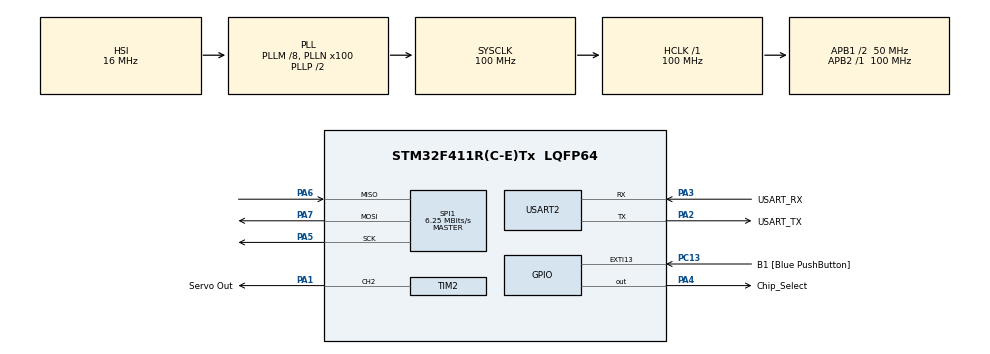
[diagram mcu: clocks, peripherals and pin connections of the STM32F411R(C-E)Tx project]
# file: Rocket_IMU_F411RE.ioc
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Mcu.Family=STM32F4
Mcu.Name=STM32F411R(C-E)Tx
Mcu.Package=LQFP64
NVIC.PriorityGroup=NVIC_PRIORITYGROUP_0
NVIC.TIM2_IRQn=true\:0\:0\:false\:false\:true\:true\:true\:true
NVIC.TIM3_IRQn=true\:0\:0\:false\:false\:true\:true\:true\:true
PA1.GPIO_Label=Servo Out
PA1.Signal=S_TIM2_CH2
PA13.GPIO_Label=TMS
PA13.Mode=Serial_Wire
PA13.Signal=SYS_JTMS-SWDIO
PA14.GPIO_Label=TCK
PA14.Mode=Serial_Wire
PA14.Signal=SYS_JTCK-SWCLK
PA2.GPIO_Label=USART_TX
PA2.Mode=Asynchronous
PA2.Signal=USART2_TX
PA3.GPIO_Label=USART_RX
PA3.Mode=Asynchronous
PA3.Signal=USART2_RX
PA4.GPIO_Label=Chip_Select
PA4.GPIO_Speed=GPIO_SPEED_FREQ_VERY_HIGH
PA4.PinState=GPIO_PIN_SET
PA4.Signal=GPIO_Output
PA5.Mode=Full_Duplex_Master
PA5.Signal=SPI1_SCK
PA6.Mode=Full_Duplex_Master
PA6.Signal=SPI1_MISO
PA7.Mode=Full_Duplex_Master
PA7.Signal=SPI1_MOSI
PB3.GPIO_Label=SWO
PB3.Signal=SYS_JTDO-SWO
PC13-ANTI_TAMP.GPIO_Label=B1 [Blue PushButton]
PC13-ANTI_TAMP.GPIO_ModeDefaultEXTI=GPIO_MODE_IT_FALLING
PC13-ANTI_TAMP.Signal=GPXTI13
PC14-OSC32_IN.Mode=LSE-External-Oscillator
PC14-OSC32_IN.Signal=RCC_OSC32_IN
PC15-OSC32_OUT.Mode=LSE-External-Oscillator
PC15-OSC32_OUT.Signal=RCC_OSC32_OUT
PH0\ -\ OSC_IN.Mode=HSE-External-Clock-Source
PH0\ -\ OSC_IN.Signal=RCC_OSC_IN
PH1\ -\ OSC_OUT.Mode=HSE-External-Clock-Source
PH1\ -\ OSC_OUT.Signal=RCC_OSC_OUT
ProjectManager.HeapSize=0x200
ProjectManager.StackSize=0x400
ProjectManager.TargetToolchain=CMake
RCC.48MHZClocksFreq_Value=50000000
RCC.AHBFreq_Value=100000000
RCC.APB1CLKDivider=RCC_HCLK_DIV2
RCC.APB1Freq_Value=50000000
RCC.APB1TimFreq_Value=100000000
RCC.APB2Freq_Value=100000000
RCC.APB2TimFreq_Value=100000000
RCC.CortexFreq_Value=100000000
RCC.FLatency-AdvancedSettings=FLASH_LATENCY_3
RCC.HCLKFreq_Value=100000000
RCC.HSE_VALUE=8000000
RCC.HSI_VALUE=16000000
RCC.PLLM=8
RCC.PLLN=100
RCC.SYSCLKFreq_VALUE=100000000
RCC.SYSCLKSource=RCC_SYSCLKSOURCE_PLLCLK
RCC.VCOOutputFreq_Value=200000000
SH.S_TIM2_CH2.0=TIM2_CH2,PWM Generation2 CH2
SPI1.BaudRatePrescaler=SPI_BAUDRATEPRESCALER_16
SPI1.CLKPhase=SPI_PHASE_2EDGE
SPI1.CLKPolarity=SPI_POLARITY_HIGH
SPI1.CalculateBaudRate=6.25 MBits/s
SPI1.DataSize=SPI_DATASIZE_8BIT
SPI1.Direction=SPI_DIRECTION_2LINES
SPI1.FirstBit=SPI_FIRSTBIT_MSB
SPI1.Mode=SPI_MODE_MASTER
SPI1.VirtualType=VM_MASTER
TIM2.AutoReloadPreload=TIM_AUTORELOAD_PRELOAD_DISABLE
TIM2.Channel-PWM\ Generation2\ CH2=TIM_CHANNEL_2
TIM2.Period=100000-1
TIM2.Prescaler=20-1
TIM3.Period=79
TIM3.Prescaler=2499
USART2.VirtualMode=VM_ASYNC
VP_TIM2_VS_ClockSourceINT.Mode=Internal
VP_TIM3_VS_ClockSourceINT.Mode=Internal
board=NUCLEO-F411RE

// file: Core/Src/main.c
/* USER CODE BEGIN Header */
/**
  ******************************************************************************
  * @file           : main.c
  * @brief          : Main program body
  ******************************************************************************
  * @attention
  *
  * Copyright (c) 2025 STMicroelectronics.
  * All rights reserved.
  *
  * This software is licensed under terms that can be found in the LICENSE file
  * in the root directory of this software component.
  * If no LICENSE file comes with this software, it is provided AS-IS.
  *
  ******************************************************************************
  */
/* USER CODE END Header */
#include "main.h"
#include "spi.h"
#include "tim.h"
#include "usart.h"
#include "gpio.h"

/* USER CODE BEGIN Includes */
#include <stdio.h>
#include <stdint.h>
#include <string.h>
#include <math.h>

#include "lsm6dsr_reg.h" // LSM6DSR driver header file
#include "MadgwickAHRS.h" // Madgwick AHRS algorithm header file
#include "stm32f411xe.h"
/* USER CODE END Includes */

/* USER CODE BEGIN PD */

// Conversion factors
#define RAD2DEG (57.29577951308232f)
#define DEG2RAD (0.0174532925199433f)

/* USER CODE END PD */

/* USER CODE BEGIN PV */

//======= Making an instance of the ctx_t struct to use in accessing the lsm6dsr =======//
extern stmdev_ctx_t lsm6dsr_ctx;  // Defined in lsm6dsr_reg.c

// Fusion algorithm timing tick
volatile uint8_t fusion_tick = 0; // Set to 1 in TIM3 interrupt at 500Hz rate

// Gyro bias values in rad/s
static float gyro_bias[3] = {0};

// Quaternion components
extern volatile float q0, q1, q2, q3;

// To hold the status register data
lsm6dsr_status_reg_t status;

// 500 Hz / 5 = 100 Hz UART
static uint8_t telem_div = 0;

/* USER CODE END PV */

void SystemClock_Config(void);

/* USER CODE BEGIN 0 */

/*
================================
PLATFORM COMMUNICATION FUNCTIONS
================================
*/

int32_t platform_write(void *handle, uint8_t reg, const uint8_t *bufp, uint16_t len)
{
    HAL_GPIO_WritePin(Chip_Select_GPIO_Port, Chip_Select_Pin, GPIO_PIN_RESET);

    uint8_t tx_buf[1] = { reg & 0x7F }; // Write operation
    HAL_SPI_Transmit(handle, tx_buf, 1, HAL_MAX_DELAY);
    HAL_SPI_Transmit(handle, (uint8_t*)bufp, len, HAL_MAX_DELAY);

    HAL_GPIO_WritePin(Chip_Select_GPIO_Port, Chip_Select_Pin, GPIO_PIN_SET);
    return 0;
}

int32_t platform_read(void *handle, uint8_t reg, uint8_t *bufp, uint16_t len)
{
    HAL_GPIO_WritePin(Chip_Select_GPIO_Port, Chip_Select_Pin, GPIO_PIN_RESET);

    uint8_t tx_buf[1] = { reg | 0x80 }; // Read operation
    HAL_SPI_Transmit(handle, tx_buf, 1, HAL_MAX_DELAY);
    HAL_SPI_Receive(handle, bufp, len, HAL_MAX_DELAY);

    HAL_GPIO_WritePin(Chip_Select_GPIO_Port, Chip_Select_Pin, GPIO_PIN_SET);
    return 0;
}

/*
===============
SERVO FUNCTIONS
===============
*/
void Servo_SetAngle(TIM_HandleTypeDef *htim, uint32_t Channel, float angle)
{
    // angle range: -90 to +90 degrees
    float pulse_length_ms = ((angle + 90.0f) / 180.0f) * 1.0f + 1.0f; // maps [-90,+90] to [1ms,2ms]

    // Convert pulse length in ms to timer counts (0.2us resolution)
    uint32_t pulse_counts = (uint32_t)(pulse_length_ms * 5000.0f);

    __HAL_TIM_SET_COMPARE(htim, Channel, pulse_counts);
}

void Servo_Sweep_Demo(TIM_HandleTypeDef *htim, uint32_t Channel)
{
    const int delay_ms = 1;  // Adjust this for speed of sweep
    float angle;

    // 0° to -90°
    for (angle = 0; angle >= -90; angle -= 1.0f) {
        Servo_SetAngle(htim, Channel, angle);
        HAL_Delay(delay_ms);
    }

    HAL_Delay(500);

    // -90° to +90°
    for (angle = -90; angle <= 90; angle += 1.0f) {
        Servo_SetAngle(htim, Channel, angle);
        HAL_Delay(delay_ms);
    }

    HAL_Delay(500);

    // +90° back to 0°
    for (angle = 90; angle >= 0; angle -= 1.0f) {
        Servo_SetAngle(htim, Channel, angle);
        HAL_Delay(delay_ms);
    }
}

static inline void DWT_Init(void){
  CoreDebug->DEMCR |= CoreDebug_DEMCR_TRCENA_Msk; // Enable TRC
  DWT->CYCCNT = 0; // Reset the cycle counter
  DWT->CTRL |= DWT_CTRL_CYCCNTENA_Msk; // Enable the cycle counter
}

static inline float DWT_GetDeltaSeconds(uint32_t *last){
  uint32_t now = DWT->CYCCNT;
  uint32_t diff = now - *last;
  *last = now;
  return (float)diff / (float)SystemCoreClock;
}

void HAL_TIM_PeriodElapsedCallback(TIM_HandleTypeDef *htim){
  if(htim->Instance == TIM3){
    fusion_tick = 1;    // Becauase the TIM3 interrupts at the rate of 500Hz, this tick is set every 2ms (every 500 Hz)
  }
}

static void CalibrateGyro(uint16_t samples){
  int32_t sx=0, sy=0, sz=0;
  for(uint16_t i=0;i<samples;i++){
    int16_t g[3];
    lsm6dsr_angular_rate_raw_get(&lsm6dsr_ctx, g);
    sx += g[0]; sy += g[1]; sz += g[2];
    HAL_Delay(2);
  }
  // convert mdps -> dps -> rad/s
  gyro_bias[0] = lsm6dsr_from_fs500dps_to_mdps(sx/(float)samples) * 1e-3f * (float)M_PI/180.0f;
  gyro_bias[1] = lsm6dsr_from_fs500dps_to_mdps(sy/(float)samples) * 1e-3f * (float)M_PI/180.0f;
  gyro_bias[2] = lsm6dsr_from_fs500dps_to_mdps(sz/(float)samples) * 1e-3f * (float)M_PI/180.0f;
}

static inline void quat_integrate_gyro(float *q0, float *q1, float *q2, float *q3, float gx,  float gy, float gz, float dt){
  // pure gyro integration of quaternion, when accel data cannot be trusted
  float _q0 = *q0, _q1 = *q1, _q2 = *q2, _q3 = *q3;
  float q0d = 0.5f * (-_q1 * gx - _q2 * gy - _q3 * gz); // qDot1, which is the rate of change of q0 in time for the quaternion to be updated which is used to integrate over time
  float q1d = 0.5f * ( _q0 * gx + _q2 * gz - _q3 * gy); // qDot2
  float q2d = 0.5f * ( _q0 * gy - _q1 * gz + _q3 * gx); // qDot3
  float q3d = 0.5f * ( _q0 * gz + _q1 * gy - _q2 * gx); // qDot4

  _q0 += q0d * 0.002f; // dt = 2ms (1/500 s)
  _q1 += q1d * 0.002f;
  _q2 += q2d * 0.002f;
  _q3 += q3d * 0.002f;

  float n = 1.0f / sqrt(_q0*_q0 + _q1*_q1 + _q2*_q2 + _q3*_q3); // normalise
  *q0 = _q0 * n, *q1 = _q1 * n, *q2 = _q2 * n, *q3 = _q3 * n; // store back
}

// To redirect the printf to output to the UART instead so I can see it in putty
int __io_putchar(int ch)
{
    HAL_UART_Transmit(&huart2, (uint8_t *)&ch, 1, HAL_MAX_DELAY);
    return ch;
}

/* USER CODE END 0 */

int main(void)
{

  /* MCU Configuration--------------------------------------------------------*/

  /* Reset of all peripherals, Initializes the Flash interface and the Systick. */
  HAL_Init();

  /* USER CODE BEGIN Init */

  DWT_Init();   // Initialize the DWT cycle counter for precise timing

  /* USER CODE END Init */

  /* Configure the system clock */
  SystemClock_Config();

  /* Initialize all configured peripherals */
  MX_GPIO_Init();
  MX_USART2_UART_Init();
  MX_TIM2_Init();
  MX_SPI1_Init();
  MX_TIM3_Init();
  /* USER CODE BEGIN 2 */

  HAL_TIM_PWM_Start(&htim2, TIM_CHANNEL_2);

  // There are 3 axes of data for both the accelerometer and gyroscope, each a 16 bit value
  int16_t accel_raw[3] = {0}, gyro_raw[3] = {0};
  float accel_g[3] = {0}, gyro_dps[3] = {0};

  // Setup lsm6dsr_ctx correctly for thios device setup
  lsm6dsr_ctx.handle = &hspi1;
  lsm6dsr_ctx.mdelay = HAL_Delay;
  lsm6dsr_ctx.write_reg = platform_write;
  lsm6dsr_ctx.read_reg = platform_read;

  // Perform self tests on the accelerometer and gyroscope
  lsm6dsr_xl_self_test_set(&lsm6dsr_ctx, LSM6DSR_XL_ST_POSITIVE);
  lsm6dsr_gy_self_test_set(&lsm6dsr_ctx, LSM6DSR_GY_ST_POSITIVE);
  HAL_Delay(500); // Wait for the self test to complete
  lsm6dsr_xl_self_test_set(&lsm6dsr_ctx, LSM6DSR_XL_ST_DISABLE);
  lsm6dsr_gy_self_test_set(&lsm6dsr_ctx, LSM6DSR_GY_ST_DISABLE);

  /*----------Device Reset-----------*/
  lsm6dsr_reset_set(&lsm6dsr_ctx, PROPERTY_ENABLE);
  uint8_t rst;
  do {
    lsm6dsr_reset_get(&lsm6dsr_ctx, &rst);
  } while (rst);

  // Removing bias
  CalibrateGyro(600); // About ~1.2s of calibration at 2ms delay per sample

  /*---------------Run Time Settings--------------*/
  lsm6dsr_block_data_update_set(&lsm6dsr_ctx, PROPERTY_ENABLE);

  // Enable high performance mode
  lsm6dsr_xl_power_mode_set(&lsm6dsr_ctx, LSM6DSR_HIGH_PERFORMANCE_MD);
  lsm6dsr_gy_power_mode_set(&lsm6dsr_ctx, LSM6DSR_GY_HIGH_PERFORMANCE);

  lsm6dsr_xl_data_rate_set(&lsm6dsr_ctx, LSM6DSR_XL_ODR_104Hz);
  lsm6dsr_gy_data_rate_set(&lsm6dsr_ctx, LSM6DSR_GY_ODR_104Hz);
  lsm6dsr_xl_full_scale_set(&lsm6dsr_ctx, LSM6DSR_8g);
  lsm6dsr_gy_full_scale_set(&lsm6dsr_ctx, LSM6DSR_500dps);

  // Enable Low Pass Filter 1 on the accelerometer and gyroscope
  lsm6dsr_xl_filter_lp2_set(&lsm6dsr_ctx, PROPERTY_ENABLE);
  lsm6dsr_gy_filter_lp1_set(&lsm6dsr_ctx, PROPERTY_ENABLE);
  lsm6dsr_gy_hp_path_internal_set(&lsm6dsr_ctx, LSM6DSR_HP_FILTER_16mHz);
  /* USER CODE END 2 */

  /* Infinite loop */
  /* USER CODE BEGIN WHILE */
  while (1)
  {

    // Servo_Sweep_Demo(&htim2, TIM_CHANNEL_2);

    lsm6dsr_status_reg_get(&lsm6dsr_ctx, &status);

    if (status.xlda && status.gda) {
      // If both accelerometer and gyroscope data are ready, retrieve the data
      lsm6dsr_acceleration_raw_get(&lsm6dsr_ctx, (int16_t*)accel_raw);
      lsm6dsr_angular_rate_raw_get(&lsm6dsr_ctx, (int16_t*)gyro_raw);

      accel_g[0] = (lsm6dsr_from_fs8g_to_mg(accel_raw[0])) / 1000.0f;
      accel_g[1] = (lsm6dsr_from_fs8g_to_mg(accel_raw[1])) / 1000.0f;
      accel_g[2] = (lsm6dsr_from_fs8g_to_mg(accel_raw[2])) / 1000.0f;

      gyro_dps[0] = (lsm6dsr_from_fs500dps_to_mdps(gyro_raw[0])) / 1000.0f;
      gyro_dps[1] = (lsm6dsr_from_fs500dps_to_mdps(gyro_raw[1])) / 1000.0f;
      gyro_dps[2] = (lsm6dsr_from_fs500dps_to_mdps(gyro_raw[2])) / 1000.0f;

      // Normalize accel in-place (required by Madgwick)
      float inv = 1.0f / sqrtf(accel_g[0]*accel_g[0] + accel_g[1]*accel_g[1] + accel_g[2]*accel_g[2]);
      accel_g[0] *= inv;  accel_g[1] *= inv;  accel_g[2] *= inv;

      // Run fusion (IMU variant: gyro in rad/s, accel in g, normalized)
      MadgwickAHRSupdateIMU(gyro_dps[0]*DEG2RAD, gyro_dps[1]*DEG2RAD, gyro_dps[2]*DEG2RAD,
                            accel_g[0],         accel_g[1],         accel_g[2]);

    if (fusion_tick) {

    }

    // Print the retrieved data to putty terminal
    printf("Accel [g]: %12.3f, %12.3f, %12.3f || Gyro [dps]: %12.3f, %12.3f, %12.3f\r\n", accel_g[0], accel_g[1], accel_g[2], gyro_dps[0], gyro_dps[1], gyro_dps[2]);

    // HAL_Delay(100); // Delay to avoid pinning of the cpu

    /* USER CODE END WHILE */

  }
}

void SystemClock_Config(void)
{
  RCC_OscInitTypeDef RCC_OscInitStruct = {0};
  RCC_ClkInitTypeDef RCC_ClkInitStruct = {0};

  /** Configure the main internal regulator output voltage
  */
  __HAL_RCC_PWR_CLK_ENABLE();
  __HAL_PWR_VOLTAGESCALING_CONFIG(PWR_REGULATOR_VOLTAGE_SCALE1);

  /** Initializes the RCC Oscillators according to the specified parameters
  * in the RCC_OscInitTypeDef structure. AAAAAAAAAAAAAAAAAAAAAAAAAAAAAAAAAAAAAAAAAAAAAAAAAAAAAAAAAAAAAAAAAAAAAA
  */
  RCC_OscInitStruct.OscillatorType = RCC_OSCILLATORTYPE_HSI;
  RCC_OscInitStruct.HSIState = RCC_HSI_ON;
  RCC_OscInitStruct.HSICalibrationValue = RCC_HSICALIBRATION_DEFAULT;
  RCC_OscInitStruct.PLL.PLLState = RCC_PLL_ON;
  RCC_OscInitStruct.PLL.PLLSource = RCC_PLLSOURCE_HSI;
  RCC_OscInitStruct.PLL.PLLM = 8;
  RCC_OscInitStruct.PLL.PLLN = 100;
  RCC_OscInitStruct.PLL.PLLP = RCC_PLLP_DIV2;
  RCC_OscInitStruct.PLL.PLLQ = 4;
  if (HAL_RCC_OscConfig(&RCC_OscInitStruct) != HAL_OK)
  {
    Error_Handler();
  }

  /** Initializes the CPU, AHB and APB buses clocks
  */
  RCC_ClkInitStruct.ClockType = RCC_CLOCKTYPE_HCLK|RCC_CLOCKTYPE_SYSCLK
                              |RCC_CLOCKTYPE_PCLK1|RCC_CLOCKTYPE_PCLK2;
  RCC_ClkInitStruct.SYSCLKSource = RCC_SYSCLKSOURCE_PLLCLK;
  RCC_ClkInitStruct.AHBCLKDivider = RCC_SYSCLK_DIV1;
  RCC_ClkInitStruct.APB1CLKDivider = RCC_HCLK_DIV2;
  RCC_ClkInitStruct.APB2CLKDivider = RCC_HCLK_DIV1;

  if (HAL_RCC_ClockConfig(&RCC_ClkInitStruct, FLASH_LATENCY_3) != HAL_OK)
  {
    Error_Handler();
  }
}

void Error_Handler(void)
{
  __disable_irq();
  while (1)
  {
  }
}
